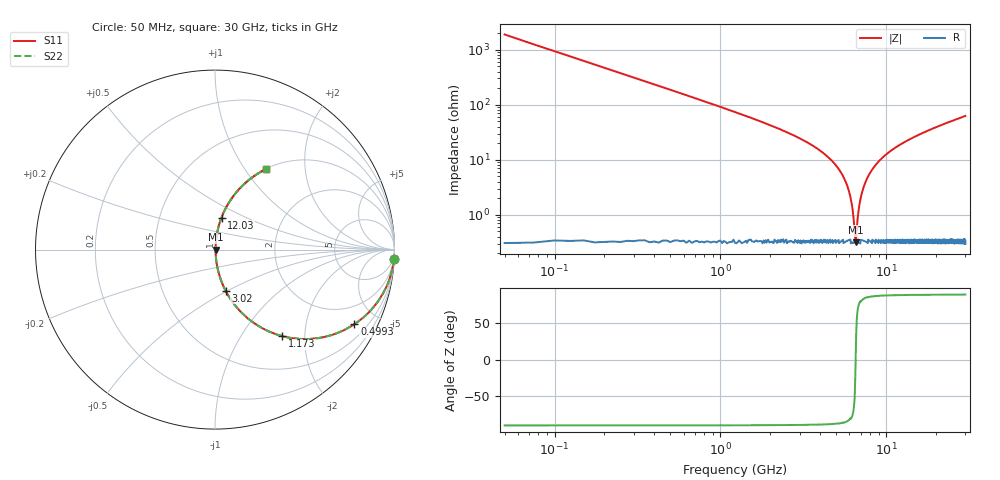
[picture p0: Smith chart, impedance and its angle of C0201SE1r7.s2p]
!	AVX Thin Film Operation 	Date: April 2014
!	Description: Accu-P® Series, Thin Film  SMD RF Capacitor
!	Part Number: 02015J1R7PBSTR
# MHZ S MA R 50
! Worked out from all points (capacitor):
!   1201 points, 50 MHz to 30 GHz, reference 50 ohm
!   read as one part in series: C = 1.7 pF near 199.8 MHz
!   lowest |Z| = 316 mohm at 6.539 GHz (marker M1)
!   series resonance near 6.536 GHz, so ESL is about 350 pH
!   S11 on the Smith chart (normalised r, x): 50 MHz: 1, -37; 499.2 MHz: 1.00, -3.73; 1.173 GHz: 1.01, -1.54; 3.02 GHz: 1.01, -0.49; 12.03 GHz: 1.01, +0.37; 30 GHz: 1.01, +1.25
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50  0.999 -3.1  0.053 86.9  0.053 86.9  0.999 -3.1
274.625  0.959 -16.4  0.282 73.6  0.282 73.6  0.959 -16.4
499.25  0.881 -28.2  0.472 61.7  0.472 61.7  0.881 -28.2
1173.125  0.61 -52.2  0.79 37.6  0.79 37.6  0.61 -52.2
1921.875  0.405 -65.7  0.911 23.9  0.911 23.9  0.405 -65.7
3020.042  0.236 -75.6  0.969 13.7  0.969 13.7  0.236 -75.6
5041.667  0.075 -83.2  0.994 4.3  0.994 4.3  0.075 -83.2
5940.167  0.028 -81.6  0.996 1.6  0.996 1.6  0.028 -81.6
6164.792  0.017 -77.9  0.997 1.0  0.997 1.0  0.017 -77.9
6439.333  0.005385 -52.0  0.997 0.2  0.997 0.2  0.005385 -52.0
6539.167  0.003302 2.4  0.997 -0.0  0.997 -0.0  0.003302 2.4
6639  0.005551 53.3  0.997 -0.3  0.997 -0.3  0.005551 53.3
6838.667  0.013 74.9  0.997 -0.7  0.997 -0.7  0.013 74.9
7013.375  0.02 79.5  0.996 -1.2  0.996 -1.2  0.02 79.5
7562.458  0.042 83.1  0.996 -2.4  0.996 -2.4  0.042 83.1
8535.833  0.077 83.1  0.994 -4.4  0.994 -4.4  0.077 83.1
10058.29  0.126 81.3  0.989 -7.2  0.989 -7.2  0.126 81.3
12030  0.182 78.5  0.98 -10.5  0.98 -10.5  0.182 78.5
15025  0.257 74.4  0.963 -14.9  0.963 -14.9  0.257 74.4
20016.67  0.364 68.2  0.928 -21.3  0.928 -21.3  0.364 68.2
25033.29  0.454 62.6  0.888 -27.0  0.888 -27.0  0.454 62.6
30000  0.53 57.7  0.846 -32.0  0.846 -32.0  0.53 57.7
